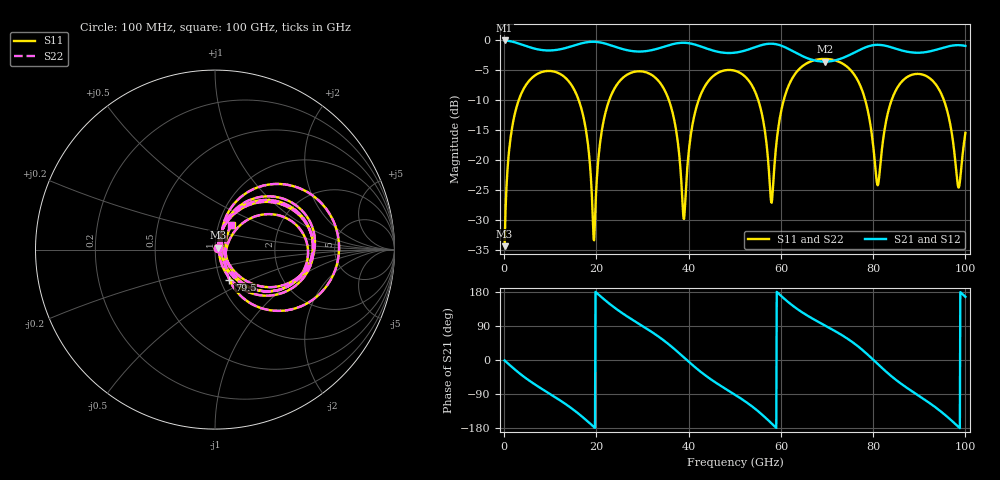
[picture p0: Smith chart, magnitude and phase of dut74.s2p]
! Touchstone file exported from HFSS 2026.1.0
!  File:  C:/ffzhzh/LocalFiles/Ansys_Project_Files/temp_train_TSV_RDL_74_1783627931_33328.aedt
!  Generated:  04:21:10 AM Jul 10, 2026
!  Design:  TSV_RDL
!  Project:  temp_train_TSV_RDL_74_1783627931_33328
! Variables:
!  h_bsmrdl = 2.19um
!  h_ox = 20um
!  h_rdl = 5um
!  h_sub = 55.47um
!  h_tmrdl = 4.62um
!  h_tsv = 55.47um
!  h_via = 3um
!  l_bsmrdl = 159.13um
!  l_sub = 3213.31um
!  l_tmrdl = 558.03um
!  m_sub = 200um
!  pitch = 49.98um
!  r_tsv = 10.6um
!  s_tmrdl = 10um
!  w_bsmrdl = 13.93um
!  w_sub = 500um
!  w_tmrdl = 20.67um
!  x_tsv_center1 = 568.365um
!  x_tsv_center2 = 741.425um
!  x_tsv_center3 = 1320.125um
!  x_tsv_center4 = 1493.185um
!  x_tsv_center5 = 2071.885um
!  x_tsv_center6 = 2244.945um
# GHz S MA R 50.000000
! Terminal data exported
! Port[1] = TM_RDL1_1_T1
! Port[2] = TM_RDL5_1_T1
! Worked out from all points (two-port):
!   1000 points, 100 MHz to 100 GHz, reference 50 ohm
!   highest |S21| = -0.13 dB at 100 MHz (marker M1); lowest = -3.7 dB at 69.5 GHz (marker M2)
!   |S21| within 3 dB of the highest: start of sweep to 65.9 GHz; 73.11 GHz to end of sweep
!   lowest |S11| = -34.4 dB at 100 MHz (marker M3), VSWR 1.04, Z = 51.5 + j1.19 ohm
!   |S11| at or under -10 dB: 16.14 GHz to 22.81 GHz (6.68 GHz wide, 34.3 % of centre); 35.68 GHz to 42.19 GHz (6.511 GHz wide, 16.7 % of centre); 78.26 GHz to 84.04 GHz (5.771 GHz wide, 7.11 % of centre) (the widest 3 of 6)
!   |S22| runs from -34.4 to -3.2 dB; largest |S21 - S12| = 1.7e-14
!   S11 on the Smith chart (normalised r, x): 100 MHz: 1.03, +0.02; 79.5 GHz: 1.10, -0.38; 100 GHz: 1.16, +0.33
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0.1  0.01912 37.2  0.9849 -1.2  0.9849 -1.2  0.01912 37.2
! Gamma 0 0 0 0
! Port Impedance 50 0 50 0
1.7  0.1831 65.3  0.9639 -18.6  0.9639 -18.6  0.1831 65.3
4.8  0.4234 38.2  0.883 -48.8  0.883 -48.8  0.4234 38.2
16.8  0.2619 -55.9  0.9326 -148.4  0.9326 -148.4  0.2619 -55.8
19.5  0.02138 12.9  0.9604 -177.0  0.9604 -177.0  0.02157 12.8
23.5  0.3652 48.4  0.8876 142.1  0.8876 142.1  0.3652 48.3
33.4  0.4567 -26.4  0.8446 62.4  0.8446 62.4  0.4567 -26.5
36.8  0.2216 -53.4  0.9224 30.1  0.9224 30.1  0.2215 -53.6
39  0.03219 13.6  0.9421 6.5  0.9421 6.5  0.03117 13.8
42.4  0.3323 55.5  0.8844 -29.1  0.8844 -29.1  0.3321 55.6
50.1  0.5502 -1.9  0.7799 -92.0  0.7799 -92.0  0.5501 -1.9
55.2  0.3045 -40.7  0.8867 -136.6  0.8867 -136.6  0.3044 -40.7
58  0.04395 17.0  0.9255 -167.5  0.9255 -167.5  0.04364 17.1
61  0.3521 61.7  0.8613 158.8  0.8613 158.8  0.3521 61.8
66.7  0.664 18.8  0.6811 110.3  0.6811 110.3  0.664 18.9
69.5  0.6915 1.3  0.6565 91.4  0.6565 91.4  0.6914 1.4
79.5  0.1856 -64.4  0.8917 6.6  0.8917 6.6  0.1854 -64.5
81  0.06147 -8.4  0.9059 -10.5  0.9059 -10.5  0.06103 -8.3
83.4  0.2638 41.3  0.876 -37.0  0.876 -37.0  0.2638 41.4
92.7  0.4627 -25.2  0.8061 -117.6  0.8061 -117.6  0.4626 -25.3
98.4  0.06041 -10.5  0.9004 -175.3  0.9004 -175.3  0.05807 -11.0
100  0.1674 55.8  0.8869 166.7  0.8869 166.7  0.1666 56.8
